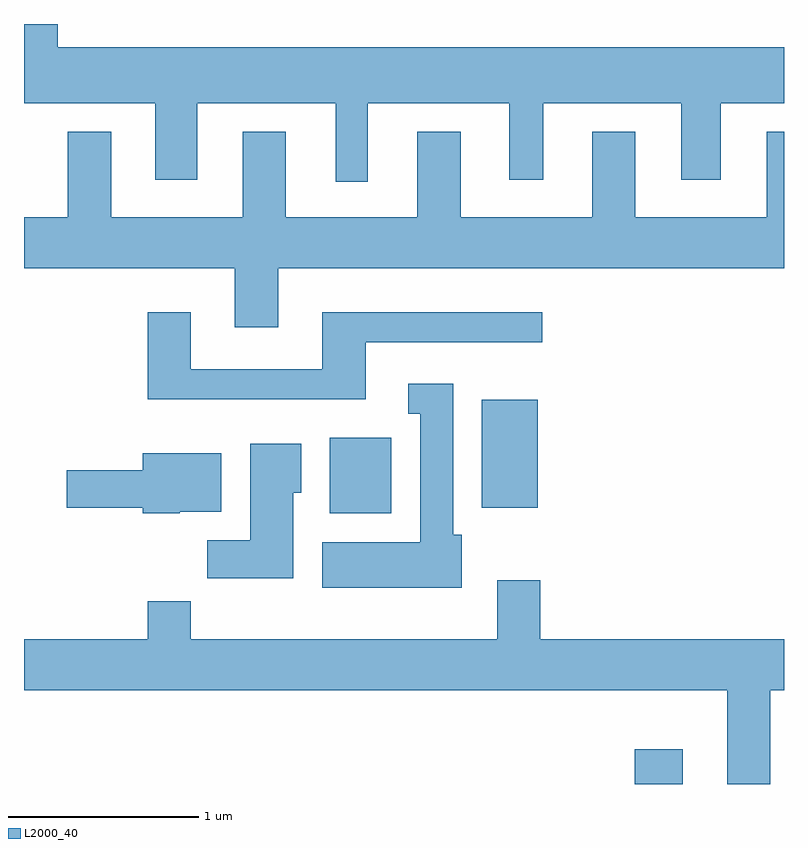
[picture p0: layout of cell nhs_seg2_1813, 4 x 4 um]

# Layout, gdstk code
import gdstk
lib = gdstk.Library(unit=1e-6, precision=1e-09)
def R(c, l, rs):  # rectangles x0, y0, x1, y1
    for r in rs: c.add(gdstk.rectangle(r[:2], r[2:], *l))
def P(c, l, *ps):  # polygons
    for p in ps: c.add(gdstk.Polygon(p, *l))
L2000_40 = (2000, 40)

nhs_seg2_1813 = lib.new_cell('nhs_seg2_1813')
R(nhs_seg2_1813, L2000_40, [(240.826,1067.802,241.079,1067.984), (239.221,1069.226,239.544,1069.624), (240.021,1069.256,240.314,1069.824)])
P(nhs_seg2_1813, L2000_40, [(239.419,1071.386),(240.166,1071.386),(240.166,1070.981),(240.344,1070.981),(240.344,1071.386),(241.071,1071.386),(241.071,1070.981),(241.279,1070.981),(241.279,1071.386),(241.611,1071.386),(241.611,1071.679),(237.789,1071.679),(237.789,1071.802),(237.611,1071.802),(237.611,1071.386),(238.301,1071.386),(238.301,1070.981),(238.524,1070.981),(238.524,1071.386),(239.251,1071.386),(239.251,1070.973),(239.419,1070.973)],
  [(238.949,1070.516),(241.611,1070.516),(241.611,1071.234),(241.521,1071.234),(241.521,1070.784),(240.829,1070.784),(240.829,1071.234),(240.601,1071.234),(240.601,1070.784),(239.909,1070.784),(239.909,1071.234),(239.681,1071.234),(239.681,1070.784),(238.989,1070.784),(238.989,1071.234),(238.761,1071.234),(238.761,1070.784),(238.069,1070.784),(238.069,1071.234),(237.841,1071.234),(237.841,1070.784),(237.611,1070.784),(237.611,1070.516),(238.721,1070.516),(238.721,1070.206),(238.949,1070.206)],
  [(239.409,1070.126),(240.338,1070.126),(240.338,1070.284),(239.181,1070.284),(239.181,1069.984),(238.489,1069.984),(238.489,1070.284),(238.261,1070.284),(238.261,1069.826),(239.409,1069.826)],
  [(239.914,1069.114),(239.869,1069.114),(239.869,1069.909),(239.633,1069.909),(239.633,1069.751),(239.696,1069.751),(239.696,1069.074),(239.181,1069.074),(239.181,1068.836),(239.914,1068.836)],
  [(239.029,1069.336),(239.069,1069.336),(239.069,1069.594),(238.801,1069.594),(238.801,1069.084),(238.576,1069.084),(238.576,1068.886),(239.029,1068.886)],
  [(238.43,1069.236),(238.649,1069.236),(238.649,1069.544),(238.236,1069.544),(238.236,1069.454),(237.836,1069.454),(237.836,1069.256),(238.236,1069.256),(238.236,1069.226),(238.43,1069.226)],
  [(241.539,1068.296),(241.611,1068.296),(241.611,1068.564),(240.329,1068.564),(240.329,1068.874),(240.101,1068.874),(240.101,1068.564),(238.489,1068.564),(238.489,1068.764),(238.261,1068.764),(238.261,1068.564),(237.611,1068.564),(237.611,1068.296),(241.311,1068.296),(241.311,1067.802),(241.539,1067.802)])

lib.write_gds('nhs_seg2_1813.gds')
